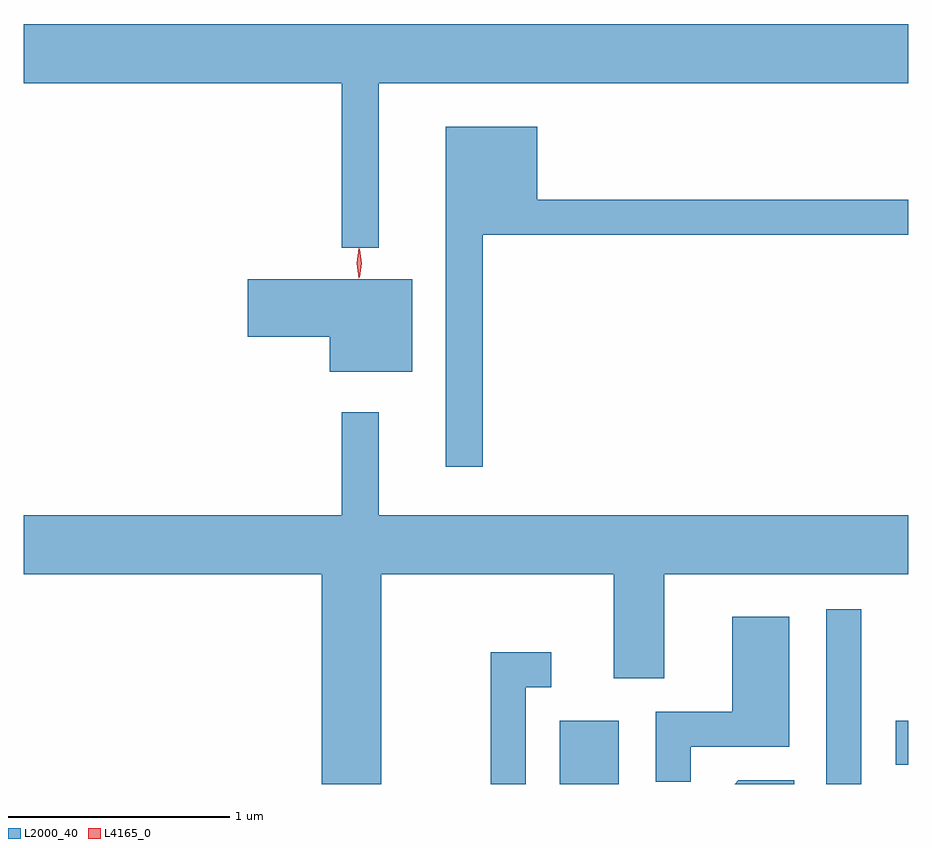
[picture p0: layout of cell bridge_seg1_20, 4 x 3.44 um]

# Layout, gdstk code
import gdstk
lib = gdstk.Library(unit=1e-6, precision=1e-09)
def R(c, l, rs):  # rectangles x0, y0, x1, y1
    for r in rs: c.add(gdstk.rectangle(r[:2], r[2:], *l))
def P(c, l, *ps):  # polygons
    for p in ps: c.add(gdstk.Polygon(p, *l))
L2000_40 = (2000, 40)
L4165_0 = (4165, 0)

bridge_seg1_20 = lib.new_cell('bridge_seg1_20')
R(bridge_seg1_20, L2000_40, [(1663.776,840.908,1664.044,841.194), (1664.981,840.908,1665.139,841.698), (1665.296,840.996,1665.353,841.194)])
P(bridge_seg1_20, L2000_40, [(1662.959,844.076),(1665.353,844.076),(1665.353,844.344),(1661.353,844.344),(1661.353,844.076),(1662.791,844.076),(1662.791,843.333),(1662.959,843.333)],
  [(1663.429,843.391),(1665.353,843.391),(1665.353,843.549),(1663.674,843.549),(1663.674,843.879),(1663.261,843.879),(1663.261,842.343),(1663.429,842.343)],
  [(1663.109,843.189),(1662.366,843.189),(1662.366,842.931),(1662.736,842.931),(1662.736,842.771),(1663.109,842.771)],
  [(1662.969,841.856),(1664.021,841.856),(1664.021,841.386),(1664.249,841.386),(1664.249,841.856),(1665.353,841.856),(1665.353,842.124),(1662.959,842.124),(1662.959,842.588),(1662.791,842.588),(1662.791,842.124),(1661.353,842.124),(1661.353,841.856),(1662.701,841.856),(1662.701,840.908),(1662.969,840.908)],
  [(1664.369,841.076),(1664.814,841.076),(1664.814,841.664),(1664.556,841.664),(1664.556,841.234),(1664.211,841.234),(1664.211,840.918),(1664.369,840.918)],
  [(1663.624,841.346),(1663.738,841.346),(1663.738,841.504),(1663.466,841.504),(1663.466,840.908),(1663.624,840.908)],
  [(1664.838,840.924),(1664.584,840.924),(1664.568,840.908),(1664.838,840.908)])
P(bridge_seg1_20, L4165_0, [(1662.867,843.194),(1662.867,843.194),(1662.858,843.262),(1662.868,843.33),(1662.869,843.33),(1662.869,843.33),(1662.878,843.262),(1662.868,843.194)],
  [(1662.871,843.2),(1662.862,843.263),(1662.871,843.326),(1662.872,843.327),(1662.872,843.326),(1662.882,843.263),(1662.872,843.2),(1662.872,843.2)])

lib.write_gds('bridge_seg1_20.gds')
